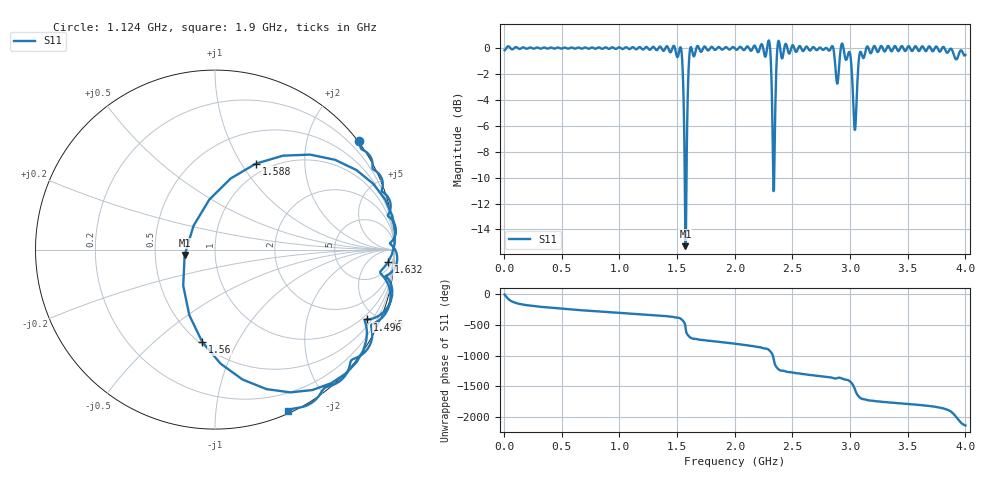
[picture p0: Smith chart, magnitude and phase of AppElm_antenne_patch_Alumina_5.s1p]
! TOUCHSTONE file generated by CST MICROWAVE STUDIO
! Date and time: Thu Jun  9 15:37:36 2022
! Project name: AppElm_antenne_patch_Alumina.cst
! Parameters = {L=30.5; W=41.8; e=0.035; h=1.6; lambda=0.190476; ls=90; w0=1.12; w1=0.373; ws=85.5; y0=14; y1=10}
! Header version: 2018
! Port assignment regex: !\s*Touchstone port\s*([0-9]+)\s*=\s*(CST MWS port|CST DS port)\s*([0-9]+|Zmin|Zmax)\s*\(\"(.*)\"\)(\s*mode\s*([0-9]+))?.*
! Touchstone port assignment:
! Touchstone port 1 = CST MWS port 1 ("")
# GHz S MA R 50
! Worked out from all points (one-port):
!   1000 points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, 4 MHz to 4 GHz, reference 50 ohm
!   lowest |S11| = -15.3 dB at 1.572 GHz (marker M1), VSWR 1.42, Z = 35.5 - j2.24 ohm
!   |S11| at or under -10 dB: 1.566 GHz to 1.581 GHz (15.05 MHz wide, 0.956 % of centre); 2.33402 GHz to 2.341766 GHz (7.746 MHz wide, 0.331 % of centre)
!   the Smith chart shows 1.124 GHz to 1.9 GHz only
!   S11 on the Smith chart (normalised r, x): 1.124 GHz: -0.02, +2.99; 1.496 GHz: 0.73, -4.46; 1.56 GHz: 0.52, -0.73; 1.588 GHz: 0.87, +1.16; 1.632 GHz: 11, -23; 1.9 GHz: 0.02, -1.55
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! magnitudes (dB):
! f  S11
! 4 MHz  -0.2
! 504 MHz  0.0
! 1.004 GHz  0.0
! 1.124 GHz  0.0
! 1.496 GHz  -0.6
! 1.504 GHz  -0.7
! 1.536 GHz  -0.1
! 1.56 GHz  -5.7
! 1.572 GHz  -15.3
! 1.588 GHz  -5.5
! 1.608 GHz  -0.4
! 1.632 GHz  -0.3
! 1.9 GHz  -0.1
! 2.004 GHz  -0.1
! 2.292 GHz  0.6
! 2.304 GHz  0.2
! 2.336 GHz  -11.0
! 2.348 GHz  -6.4
! 2.38 GHz  0.6
! 2.504 GHz  0.2
! 2.84 GHz  0.1
! 2.888 GHz  -2.8
! 2.932 GHz  0.3
! 3.004 GHz  -0.7
! 3.04 GHz  -6.3
! 3.096 GHz  -0.3
! 3.504 GHz  0.1
! 4 GHz  -0.5
